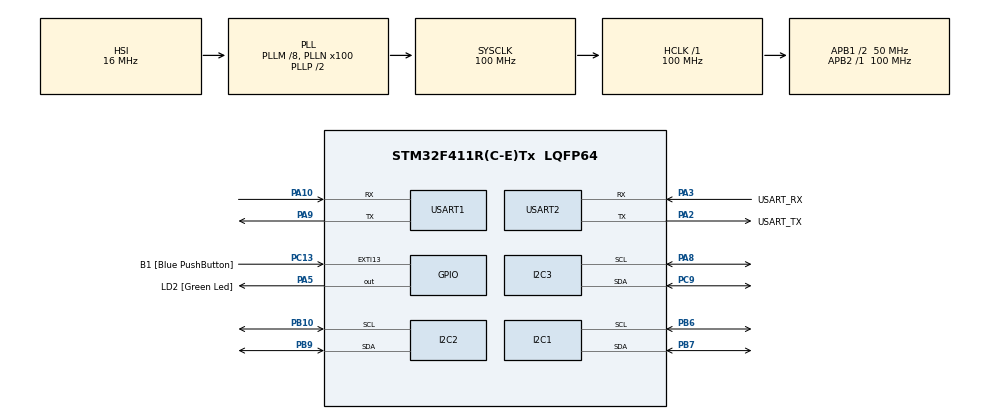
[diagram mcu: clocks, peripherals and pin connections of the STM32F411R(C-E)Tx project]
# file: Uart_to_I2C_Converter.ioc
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Dma.Request0=USART2_RX
Dma.USART2_RX.0.Direction=DMA_PERIPH_TO_MEMORY
Dma.USART2_RX.0.FIFOMode=DMA_FIFOMODE_DISABLE
Dma.USART2_RX.0.Instance=DMA1_Stream5
Dma.USART2_RX.0.MemDataAlignment=DMA_MDATAALIGN_BYTE
Dma.USART2_RX.0.MemInc=DMA_MINC_ENABLE
Dma.USART2_RX.0.Mode=DMA_NORMAL
Dma.USART2_RX.0.PeriphDataAlignment=DMA_PDATAALIGN_BYTE
Dma.USART2_RX.0.PeriphInc=DMA_PINC_DISABLE
Dma.USART2_RX.0.Priority=DMA_PRIORITY_LOW
Mcu.Family=STM32F4
Mcu.Name=STM32F411R(C-E)Tx
Mcu.Package=LQFP64
NVIC.DMA1_Stream5_IRQn=true\:0\:0\:false\:false\:true\:false\:true
NVIC.PriorityGroup=NVIC_PRIORITYGROUP_0
PA10.Mode=Asynchronous
PA10.Signal=USART1_RX
PA13.GPIO_Label=TMS
PA13.Mode=Serial_Wire
PA13.Signal=SYS_JTMS-SWDIO
PA14.GPIO_Label=TCK
PA14.Mode=Serial_Wire
PA14.Signal=SYS_JTCK-SWCLK
PA2.GPIO_Label=USART_TX
PA2.GPIO_Speed=GPIO_SPEED_FREQ_HIGH
PA2.Mode=Asynchronous
PA2.Signal=USART2_TX
PA3.GPIO_Label=USART_RX
PA3.GPIO_Speed=GPIO_SPEED_FREQ_HIGH
PA3.Mode=Asynchronous
PA3.Signal=USART2_RX
PA5.GPIO_Label=LD2 [Green Led]
PA5.Signal=GPIO_Output
PA8.Mode=I2C
PA8.Signal=I2C3_SCL
PA9.Mode=Asynchronous
PA9.Signal=USART1_TX
PB10.Mode=I2C
PB10.Signal=I2C2_SCL
PB3.GPIO_Label=SWO
PB3.Signal=SYS_JTDO-SWO
PB6.Mode=I2C
PB6.Signal=I2C1_SCL
PB7.Mode=I2C
PB7.Signal=I2C1_SDA
PB9.Mode=I2C
PB9.Signal=I2C2_SDA
PC13-ANTI_TAMP.GPIO_Label=B1 [Blue PushButton]
PC13-ANTI_TAMP.GPIO_ModeDefaultEXTI=GPIO_MODE_IT_FALLING
PC13-ANTI_TAMP.Signal=GPXTI13
PC14-OSC32_IN.Mode=LSE-External-Oscillator
PC14-OSC32_IN.Signal=RCC_OSC32_IN
PC15-OSC32_OUT.Mode=LSE-External-Oscillator
PC15-OSC32_OUT.Signal=RCC_OSC32_OUT
PC9.Mode=I2C
PC9.Signal=I2C3_SDA
PH0\ -\ OSC_IN.Mode=HSE-External-Clock-Source
PH0\ -\ OSC_IN.Signal=RCC_OSC_IN
PH1\ -\ OSC_OUT.Mode=HSE-External-Clock-Source
PH1\ -\ OSC_OUT.Signal=RCC_OSC_OUT
ProjectManager.HeapSize=0x200
ProjectManager.StackSize=0x400
ProjectManager.TargetToolchain=STM32CubeIDE
RCC.48MHZClocksFreq_Value=50000000
RCC.AHBFreq_Value=100000000
RCC.APB1CLKDivider=RCC_HCLK_DIV2
RCC.APB1Freq_Value=50000000
RCC.APB1TimFreq_Value=100000000
RCC.APB2Freq_Value=100000000
RCC.APB2TimFreq_Value=100000000
RCC.CortexFreq_Value=100000000
RCC.FLatency-AdvancedSettings=FLASH_LATENCY_3
RCC.HCLKFreq_Value=100000000
RCC.HSE_VALUE=8000000
RCC.HSI_VALUE=16000000
RCC.PLLM=8
RCC.PLLN=100
RCC.SYSCLKFreq_VALUE=100000000
RCC.SYSCLKSource=RCC_SYSCLKSOURCE_PLLCLK
RCC.VCOOutputFreq_Value=200000000
USART1.VirtualMode=VM_ASYNC
USART2.VirtualMode=VM_ASYNC
board=NUCLEO-F411RE

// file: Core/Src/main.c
/* USER CODE BEGIN Header */
/**
  ******************************************************************************
  * @file           : main.c
  * @brief          : Main program body
  ******************************************************************************
  * @attention
  *
  * <h2><center>&copy; Copyright (c) 2021 STMicroelectronics.
  * All rights reserved.</center></h2>
  *
  * This software component is licensed by ST under BSD 3-Clause license,
  * the "License"; You may not use this file except in compliance with the
  * License. You may obtain a copy of the License at:
  *                        opensource.org/licenses/BSD-3-Clause
  *
  ******************************************************************************
  */
/* USER CODE END Header */
#include "main.h"

/* USER CODE BEGIN Includes */
#include <math.h>
#include "GPIO.h"
#include "RCC.h"
#include "Usart_config.h"
#include "I2C.h"
#include "NVIC.h"
#include "string.h"
/* USER CODE END Includes */

I2C_HandleTypeDef hi2c1;
I2C_HandleTypeDef hi2c2;
I2C_HandleTypeDef hi2c3;

UART_HandleTypeDef huart1;
UART_HandleTypeDef huart2;
DMA_HandleTypeDef hdma_usart2_rx;

void SystemClock_Config(void);
static void MX_GPIO_Init(void);
static void MX_DMA_Init(void);
static void MX_USART2_UART_Init(void);
static void MX_I2C1_Init(void);
static void MX_I2C2_Init(void);
static void MX_I2C3_Init(void);
static void MX_USART1_UART_Init(void);

int main(void)
{

  /* MCU Configuration--------------------------------------------------------*/

  /* Reset of all peripherals, Initializes the Flash interface and the Systick. */
  HAL_Init();

  /* Configure the system clock */
  SystemClock_Config();

  /* Initialize all configured peripherals */
  MX_GPIO_Init();
  MX_DMA_Init();
  MX_USART2_UART_Init();
  MX_I2C1_Init();
  MX_I2C2_Init();
  MX_I2C3_Init();
  MX_USART1_UART_Init();
  /* USER CODE BEGIN 2 */
  rccResetAndUnresetGpio(Rcc_GPIOB);
  rccResetAndUnresetUsart(Rcc_USART1);
  rccResetAndUnresetI2C(Rcc_I2C_2);
  Usart_Gpio_Pin_Configure();

  usartconfigure(usart1, USART_TX_EN | USART_RX_EN | USART_OVER8 | USART_8_DATA_BIT | USART_EN);
  usartSetBaudRate(usart1, 9600);
  Usart_Transmit_Sentence(usart2);
  gpioConfigurePin(gpioB, 9, GPIO_ALT_FUNC | GPIO_OPEN_DRAIN | GPIO_HIGH_SPEED | AF_9 ); 	//I2C_SDA
  gpioConfigurePin(gpioB, 10, GPIO_ALT_FUNC| GPIO_OPEN_DRAIN | GPIO_HIGH_SPEED | AF_4 );	//I2C_SCL
  I2C_SoftwareReset(I2C_2);
  I2C_configure(I2C_2, PERIPHERAL_EN | I2C_MODE | SMB_TYPE_HOST);
  I2C_set_CCR_and_TRISE(I2C_2, 100000);
  I2C_Read_And_Write();

  /* USER CODE END 2 */

  /* Infinite loop */
  while (1)
  {

  }
}

void SystemClock_Config(void)
{
  RCC_OscInitTypeDef RCC_OscInitStruct = {0};
  RCC_ClkInitTypeDef RCC_ClkInitStruct = {0};

  /** Configure the main internal regulator output voltage
  */
  __HAL_RCC_PWR_CLK_ENABLE();
  __HAL_PWR_VOLTAGESCALING_CONFIG(PWR_REGULATOR_VOLTAGE_SCALE1);
  /** Initializes the RCC Oscillators according to the specified parameters
  * in the RCC_OscInitTypeDef structure.
  */
  RCC_OscInitStruct.OscillatorType = RCC_OSCILLATORTYPE_HSI;
  RCC_OscInitStruct.HSIState = RCC_HSI_ON;
  RCC_OscInitStruct.HSICalibrationValue = RCC_HSICALIBRATION_DEFAULT;
  RCC_OscInitStruct.PLL.PLLState = RCC_PLL_ON;
  RCC_OscInitStruct.PLL.PLLSource = RCC_PLLSOURCE_HSI;
  RCC_OscInitStruct.PLL.PLLM = 8;
  RCC_OscInitStruct.PLL.PLLN = 100;
  RCC_OscInitStruct.PLL.PLLP = RCC_PLLP_DIV2;
  RCC_OscInitStruct.PLL.PLLQ = 4;
  if (HAL_RCC_OscConfig(&RCC_OscInitStruct) != HAL_OK)
  {
    Error_Handler();
  }
  /** Initializes the CPU, AHB and APB buses clocks
  */
  RCC_ClkInitStruct.ClockType = RCC_CLOCKTYPE_HCLK|RCC_CLOCKTYPE_SYSCLK
                              |RCC_CLOCKTYPE_PCLK1|RCC_CLOCKTYPE_PCLK2;
  RCC_ClkInitStruct.SYSCLKSource = RCC_SYSCLKSOURCE_PLLCLK;
  RCC_ClkInitStruct.AHBCLKDivider = RCC_SYSCLK_DIV1;
  RCC_ClkInitStruct.APB1CLKDivider = RCC_HCLK_DIV2;
  RCC_ClkInitStruct.APB2CLKDivider = RCC_HCLK_DIV1;

  if (HAL_RCC_ClockConfig(&RCC_ClkInitStruct, FLASH_LATENCY_3) != HAL_OK)
  {
    Error_Handler();
  }
}

static void MX_I2C1_Init(void)
{

  hi2c1.Instance = I2C1;
  hi2c1.Init.ClockSpeed = 100000;
  hi2c1.Init.DutyCycle = I2C_DUTYCYCLE_2;
  hi2c1.Init.OwnAddress1 = 0;
  hi2c1.Init.AddressingMode = I2C_ADDRESSINGMODE_7BIT;
  hi2c1.Init.DualAddressMode = I2C_DUALADDRESS_DISABLE;
  hi2c1.Init.OwnAddress2 = 0;
  hi2c1.Init.GeneralCallMode = I2C_GENERALCALL_DISABLE;
  hi2c1.Init.NoStretchMode = I2C_NOSTRETCH_DISABLE;
  if (HAL_I2C_Init(&hi2c1) != HAL_OK)
  {
    Error_Handler();
  }

}

static void MX_I2C2_Init(void)
{

  hi2c2.Instance = I2C2;
  hi2c2.Init.ClockSpeed = 100000;
  hi2c2.Init.DutyCycle = I2C_DUTYCYCLE_2;
  hi2c2.Init.OwnAddress1 = 0;
  hi2c2.Init.AddressingMode = I2C_ADDRESSINGMODE_7BIT;
  hi2c2.Init.DualAddressMode = I2C_DUALADDRESS_DISABLE;
  hi2c2.Init.OwnAddress2 = 0;
  hi2c2.Init.GeneralCallMode = I2C_GENERALCALL_DISABLE;
  hi2c2.Init.NoStretchMode = I2C_NOSTRETCH_DISABLE;
  if (HAL_I2C_Init(&hi2c2) != HAL_OK)
  {
    Error_Handler();
  }

}

static void MX_I2C3_Init(void)
{

  hi2c3.Instance = I2C3;
  hi2c3.Init.ClockSpeed = 100000;
  hi2c3.Init.DutyCycle = I2C_DUTYCYCLE_2;
  hi2c3.Init.OwnAddress1 = 0;
  hi2c3.Init.AddressingMode = I2C_ADDRESSINGMODE_7BIT;
  hi2c3.Init.DualAddressMode = I2C_DUALADDRESS_DISABLE;
  hi2c3.Init.OwnAddress2 = 0;
  hi2c3.Init.GeneralCallMode = I2C_GENERALCALL_DISABLE;
  hi2c3.Init.NoStretchMode = I2C_NOSTRETCH_DISABLE;
  if (HAL_I2C_Init(&hi2c3) != HAL_OK)
  {
    Error_Handler();
  }

}

static void MX_USART1_UART_Init(void)
{

  huart1.Instance = USART1;
  huart1.Init.BaudRate = 115200;
  huart1.Init.WordLength = UART_WORDLENGTH_8B;
  huart1.Init.StopBits = UART_STOPBITS_1;
  huart1.Init.Parity = UART_PARITY_NONE;
  huart1.Init.Mode = UART_MODE_TX_RX;
  huart1.Init.HwFlowCtl = UART_HWCONTROL_NONE;
  huart1.Init.OverSampling = UART_OVERSAMPLING_16;
  if (HAL_UART_Init(&huart1) != HAL_OK)
  {
    Error_Handler();
  }

}

static void MX_USART2_UART_Init(void)
{

  huart2.Instance = USART2;
  huart2.Init.BaudRate = 115200;
  huart2.Init.WordLength = UART_WORDLENGTH_8B;
  huart2.Init.StopBits = UART_STOPBITS_1;
  huart2.Init.Parity = UART_PARITY_NONE;
  huart2.Init.Mode = UART_MODE_TX_RX;
  huart2.Init.HwFlowCtl = UART_HWCONTROL_NONE;
  huart2.Init.OverSampling = UART_OVERSAMPLING_16;
  if (HAL_UART_Init(&huart2) != HAL_OK)
  {
    Error_Handler();
  }

}

static void MX_DMA_Init(void)
{

  /* DMA controller clock enable */
  __HAL_RCC_DMA1_CLK_ENABLE();

  /* DMA interrupt init */
  /* DMA1_Stream5_IRQn interrupt configuration */
  HAL_NVIC_SetPriority(DMA1_Stream5_IRQn, 0, 0);
  HAL_NVIC_EnableIRQ(DMA1_Stream5_IRQn);

}

static void MX_GPIO_Init(void)
{
  GPIO_InitTypeDef GPIO_InitStruct = {0};

  /* GPIO Ports Clock Enable */
  __HAL_RCC_GPIOC_CLK_ENABLE();
  __HAL_RCC_GPIOH_CLK_ENABLE();
  __HAL_RCC_GPIOA_CLK_ENABLE();
  __HAL_RCC_GPIOB_CLK_ENABLE();

  /*Configure GPIO pin Output Level */
  HAL_GPIO_WritePin(LD2_GPIO_Port, LD2_Pin, GPIO_PIN_RESET);

  /*Configure GPIO pin : B1_Pin */
  GPIO_InitStruct.Pin = B1_Pin;
  GPIO_InitStruct.Mode = GPIO_MODE_IT_FALLING;
  GPIO_InitStruct.Pull = GPIO_NOPULL;
  HAL_GPIO_Init(B1_GPIO_Port, &GPIO_InitStruct);

  /*Configure GPIO pin : LD2_Pin */
  GPIO_InitStruct.Pin = LD2_Pin;
  GPIO_InitStruct.Mode = GPIO_MODE_OUTPUT_PP;
  GPIO_InitStruct.Pull = GPIO_NOPULL;
  GPIO_InitStruct.Speed = GPIO_SPEED_FREQ_LOW;
  HAL_GPIO_Init(LD2_GPIO_Port, &GPIO_InitStruct);

}

/* USER CODE BEGIN 4 */
void Usart_Gpio_Pin_Configure(){
	rccResetAndUnresetGpio(Rcc_GPIOA);
	rccResetAndUnresetGpio(Rcc_GPIOC);

	//User LED
	gpioConfigurePin(gpioA, 5, GPIO_MEDIUM_SPEED | GPIO_PUSH_PULL | GPIO_OUTPUT );
	//Button state
	gpioConfigurePin(gpioC, 13, GPIO_INPUT);

	//Configure GPIOA Alternate Function for Usart 1
	//PA9 as Tx and PA10 as Rx
	gpioConfigurePin(gpioA, 9, GPIO_ALT_FUNC | GPIO_PUSH_PULL | GPIO_HIGH_SPEED | AF_7 );	//Tx
	gpioConfigurePin(gpioA, 10, GPIO_ALT_FUNC | AF_7 );										//Rx
}

void Usart_Transmit_Sentence(UsartReg *usart){
	volatile int button_state;
	button_state = gpioReadPin(gpioC, 13);
	if(button_state)
		Usart_Tx_String(usart, "Hello\n");
	else
		Usart_Tx_String(usart, "World\n");
	HAL_Delay(1000);
}

void I2C_Read_And_Write(){
	char rdData[8];

	I2C_Write(I2C_2, 0x50, "20Stream", 8);
	I2C_Read(I2C_2, 0x50, "13", 2, rdData, 2);
}

/* USER CODE END 4 */

void Error_Handler(void)
{
  __disable_irq();
  while (1)
  {
  }
}

/************************ (C) COPYRIGHT STMicroelectronics *****END OF FILE****/
